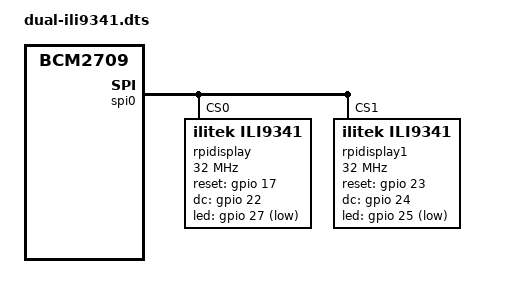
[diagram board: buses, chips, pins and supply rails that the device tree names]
/*
 * Device Tree overlay for ili9341 display
 *
 */

/dts-v1/;
/plugin/;

/ {
	compatible = "brcm,bcm2835", "brcm,bcm2708", "brcm,bcm2709";

	fragment@0 {
                target = <&spi0>;
                __overlay__ {
                        status = "okay";

                        spidev@0{
                                status = "disabled";
                        };

                        spidev@1{
                                status = "disabled";
                        };
                };
        };

	fragment@1 {
		target = <&gpio>;
		__overlay__ {
			rpi_display_pins: rpi_display_pins {
				brcm,pins = <17 27 22>;
				brcm,function = <1 1 1>; /* out out out */
				brcm,pull = <0 0 0>; /* - - - */
			};
			rpi_display1_pins: rpi_display1_pins {
				brcm,pins = <23 24 25>;
				brcm,function = <1 1 1>; /* out out out */
				brcm,pull = <0 0 0>; /* - - - */
			};
		};
	};

	fragment@2 {
		target = <&spi0>;
		__overlay__ {
			/* needed to avoid dtc warning */
			#address-cells = <1>;
			#size-cells = <0>;

			rpidisplay: rpi-display@0{
				compatible = "ilitek,ili9341";
				reg = <0>;
				pinctrl-names = "default";
				pinctrl-0 = <&rpi_display_pins>, 
				            <&rpi_display1_pins> ;
				spi-max-frequency = <32000000>;
				rotate = <90>;
				bgr;
				fps = <30>;
				buswidth = <8>;
				reset-gpios = <&gpio 17 0>;
				dc-gpios = <&gpio 22 0>;
				led-gpios = <&gpio 27 1>;
				debug = <0>;
			};
			rpidisplay1: rpi-display@1{
				compatible = "ilitek,ili9341";
				reg = <1>;
				spi-max-frequency = <32000000>;
				rotate = <270>;
				bgr;
				fps = <30>;
				buswidth = <8>;
				reset-gpios = <&gpio 23 0>;
				dc-gpios = <&gpio 24 0>;
				led-gpios = <&gpio 25 1>;
				debug = <0>;
			};
		};
	};
	__overrides__ {
		speed =   <&rpidisplay>,"spi-max-frequency:0";
		rotate =  <&rpidisplay>,"rotate:0";
		fps =     <&rpidisplay>,"fps:0";
		debug =   <&rpidisplay>,"debug:0";
		speed1 =   <&rpidisplay1>,"spi-max-frequency:0";
		rotate1 =  <&rpidisplay1>,"rotate:0";
		fps1 =     <&rpidisplay1>,"fps:0";
		debug1 =   <&rpidisplay1>,"debug:0";
	};
};
